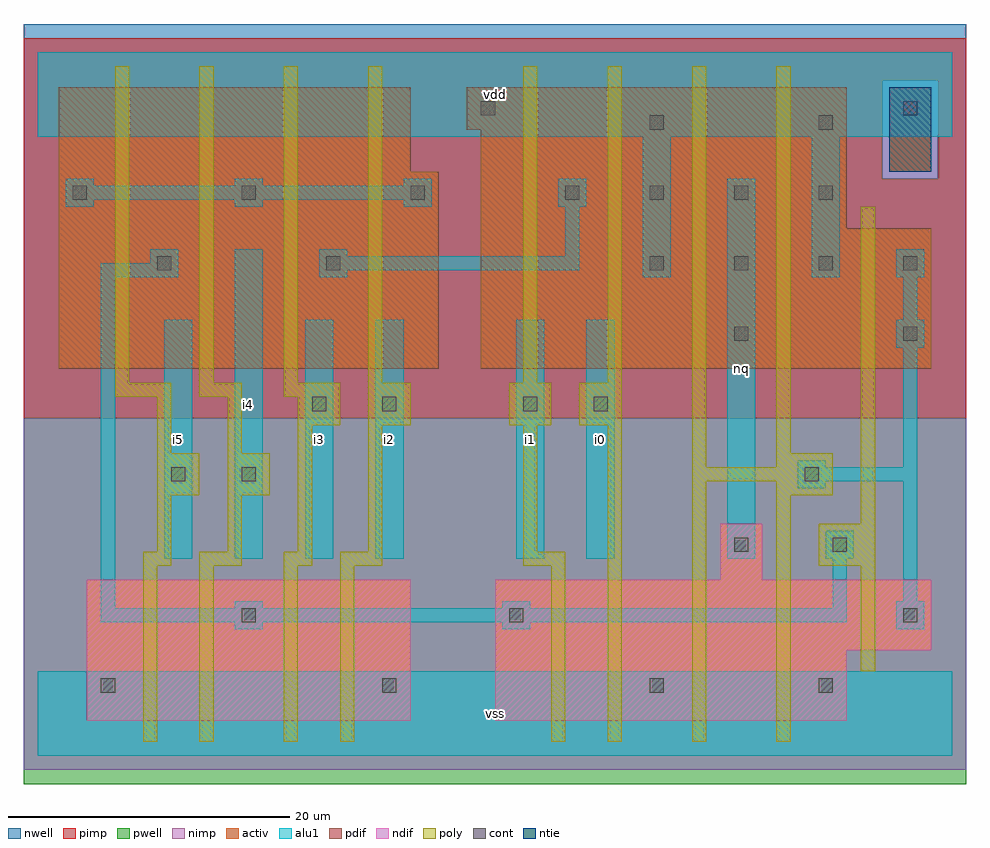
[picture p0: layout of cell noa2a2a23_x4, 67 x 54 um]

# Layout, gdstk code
import gdstk
lib = gdstk.Library(unit=1e-6, precision=1e-09)
def R(c, l, rs):  # rectangles x0, y0, x1, y1
    for r in rs: c.add(gdstk.rectangle(r[:2], r[2:], *l))
def A(c, l, x, y, w, h, nx, ny, dx, dy):  # array of equal rectangles
    R(c, l, [(x+i*dx, y+j*dy, x+i*dx+w, y+j*dy+h) for i in range(nx) for j in range(ny)])
ndif = (3, 0)
pdif = (4, 0)
ntie = (5, 0)
cont = (25, 0)
pwell = (41, 0)
nwell = (42, 0)
activ = (43, 0)
pimp = (44, 0)
nimp = (45, 0)
poly = (46, 0)
alu1 = (49, 0)

noa2a2a23_x4 = lib.new_cell('noa2a2a23_x4')
R(noa2a2a23_x4, ndif, [(3.5,2.5,26.5,12.5), (32.5,2.5,57.5,7.5), (32.5,7.5,63.5,12.5), (48.5,12.5,51.5,16.5)])
R(noa2a2a23_x4, pdif, [(1.5,27.5,28.5,41.5), (31.5,27.5,63.5,37.5), (31.5,37.5,57.5,44.5), (1.5,41.5,26.5,47.5), (30.5,44.5,57.5,47.5)])
R(noa2a2a23_x4, ntie, [(60.5,41.5,63.5,47.5)])
A(noa2a2a23_x4, cont, 43.5, 34.5, 1, 1, 4, 1, 6, 0)
A(noa2a2a23_x4, cont, 2.5, 39.5, 1, 1, 3, 1, 12, 0)
A(noa2a2a23_x4, cont, 37.5, 39.5, 1, 1, 4, 1, 6, 0)
R(noa2a2a23_x4, cont, [(4.5,4.5,5.5,5.5), (24.5,4.5,25.5,5.5), (43.5,4.5,44.5,5.5), (55.5,4.5,56.5,5.5), (14.5,9.5,15.5,10.5), (33.5,9.5,34.5,10.5), (61.5,9.5,62.5,10.5), (49.5,14.5,50.5,15.5), (56.5,14.5,57.5,15.5), (9.5,19.5,10.5,20.5), (14.5,19.5,15.5,20.5), (54.5,19.5,55.5,20.5), (19.5,24.5,20.5,25.5), (24.5,24.5,25.5,25.5), (34.5,24.5,35.5,25.5), (39.5,24.5,40.5,25.5), (49.5,29.5,50.5,30.5), (61.5,29.5,62.5,30.5), (8.5,34.5,9.5,35.5), (20.5,34.5,21.5,35.5), (43.5,44.5,44.5,45.5), (55.5,44.5,56.5,45.5), (31.5,45.5,32.5,46.5), (61.5,45.5,62.5,46.5)])
R(noa2a2a23_x4, pwell, [(-1,-2,66,24)])
R(noa2a2a23_x4, nwell, [(-1,24,66,52)])
R(noa2a2a23_x4, activ, [(3.5,2.5,26.5,12.5), (32.5,2.5,57.5,7.5), (32.5,7.5,63.5,12.5), (48.5,12.5,51.5,16.5), (1.5,27.5,28.5,41.5), (31.5,27.5,63.5,37.5), (31.5,37.5,57.5,44.5), (1.5,41.5,26.5,47.5), (60.5,41.5,63.5,47.5), (30.5,44.5,57.5,47.5)])
R(noa2a2a23_x4, pimp, [(-1,24,66,41), (-1,41,60,48), (64,41,66,48), (-1,48,66,51)])
R(noa2a2a23_x4, nimp, [(-1,-1,66,24), (60,41,64,48)])
A(noa2a2a23_x4, poly, 5.5, 26.5, 1, 22.5, 4, 1, 6, 0)
R(noa2a2a23_x4, poly, [(7.5,1,8.5,13.5), (11.5,1,12.5,13.5), (17.5,1,18.5,13.5), (21.5,1,22.5,13.5), (36.5,1,37.5,13.5), (40.5,1,41.5,23.5), (46.5,1,47.5,19.5), (52.5,1,53.5,18.5), (58.5,6,59.5,13.5), (7.5,13.5,9.5,14.5), (11.5,13.5,14.5,14.5), (17.5,13.5,19.5,14.5), (21.5,13.5,24.5,14.5), (34.5,13.5,37.5,14.5), (55.5,13.5,59.5,16.5), (8.5,14.5,9.5,18.5), (13.5,14.5,14.5,18.5), (18.5,14.5,19.5,23.5), (23.5,14.5,24.5,23.5), (34.5,14.5,35.5,23.5), (58.5,16.5,59.5,39), (8.5,18.5,11.5,21.5), (13.5,18.5,16.5,21.5), (52.5,18.5,56.5,19.5), (46.5,19.5,56.5,20.5), (46.5,20.5,47.5,49), (52.5,20.5,56.5,21.5), (8.5,21.5,9.5,25.5), (13.5,21.5,14.5,25.5), (52.5,21.5,53.5,49), (18.5,23.5,21.5,25.5), (23.5,23.5,26.5,26.5), (33.5,23.5,36.5,26.5), (38.5,23.5,41.5,26.5), (5.5,25.5,9.5,26.5), (11.5,25.5,14.5,26.5), (17.5,25.5,21.5,26.5), (34.5,26.5,35.5,49), (40.5,26.5,41.5,49)])
A(noa2a2a23_x4, alu1, 2, 39, 2, 0.5, 3, 2, 12, 1.5)
R(noa2a2a23_x4, alu1, [(0,0,65,6), (14,9,16,9.5), (33,9,35,9.5), (61,9,63,11), (4.5,9.5,57.5,10.5), (4.5,10.5,5.5,34), (14,10.5,16,11), (33,10.5,35,11), (56.5,10.5,57.5,14), (61.5,11,62.5,19.5), (9,14,11,31), (14,14,16,36), (19,14,21,31), (24,14,26,31), (34,14,36,31), (39,14,41,31), (49,14,51,41), (56,14,58,16), (54,19,56,19.5), (54,19.5,62.5,20.5), (54,20.5,56,21), (61.5,20.5,62.5,29), (61,29,63,31), (61.5,31,62.5,34), (4.5,34,10,35), (20,34,22,34.5), (43,34,45,44), (55,34,57,44), (61,34,63,36), (20,34.5,38.5,35.5), (8,35,10,36), (20,35.5,22,36), (37.5,35.5,38.5,39), (37,39,39,41), (2,39.5,28,40.5), (0,44,65,50)])
noa2a2a23_x4.add(gdstk.Label('i5', (10,22.5), layer=49, texttype=0))
noa2a2a23_x4.add(gdstk.Label('i3', (20,22.5), layer=49, texttype=0))
noa2a2a23_x4.add(gdstk.Label('i4', (15,25), layer=49, texttype=0))
noa2a2a23_x4.add(gdstk.Label('vss', (32.5,3), layer=49, texttype=0))
noa2a2a23_x4.add(gdstk.Label('i1', (35,22.5), layer=49, texttype=0))
noa2a2a23_x4.add(gdstk.Label('i2', (25,22.5), layer=49, texttype=0))
noa2a2a23_x4.add(gdstk.Label('vdd', (32.5,47), layer=49, texttype=0))
noa2a2a23_x4.add(gdstk.Label('i0', (40,22.5), layer=49, texttype=0))
noa2a2a23_x4.add(gdstk.Label('nq', (50,27.5), layer=49, texttype=0))

lib.write_gds('noa2a2a23_x4.gds')
